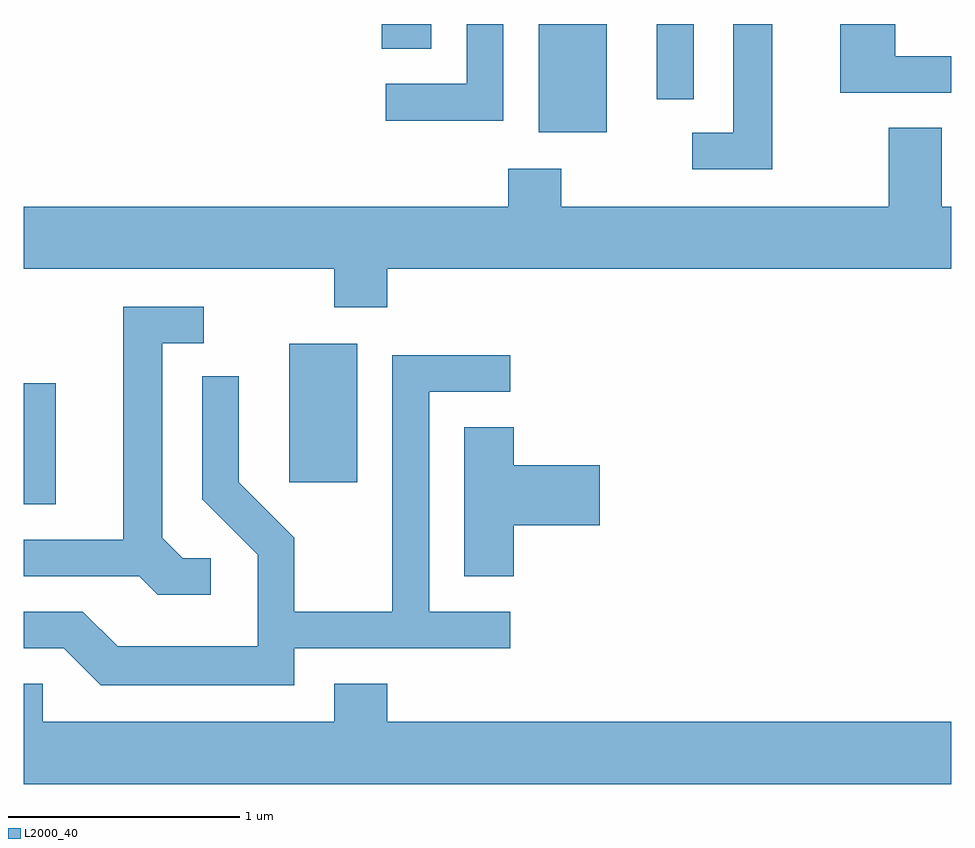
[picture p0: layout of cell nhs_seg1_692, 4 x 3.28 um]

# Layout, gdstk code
import gdstk
lib = gdstk.Library(unit=1e-6, precision=1e-09)
def R(c, l, rs):  # rectangles x0, y0, x1, y1
    for r in rs: c.add(gdstk.rectangle(r[:2], r[2:], *l))
def P(c, l, *ps):  # polygons
    for p in ps: c.add(gdstk.Polygon(p, *l))
L2000_40 = (2000, 40)

nhs_seg1_692 = lib.new_cell('nhs_seg1_692')
R(nhs_seg1_692, L2000_40, [(205.611,929.641,205.749,930.164), (206.756,929.736,207.049,930.334), (207.831,931.246,208.124,931.712), (208.341,931.388,208.499,931.712), (207.156,931.606,207.369,931.712)])
P(nhs_seg1_692, L2000_40, [(209.611,931.574),(209.369,931.574),(209.369,931.712),(209.131,931.712),(209.131,931.416),(209.611,931.416)],
  [(208.839,931.712),(208.671,931.712),(208.671,931.244),(208.493,931.244),(208.493,931.086),(208.839,931.086)],
  [(207.679,931.712),(207.521,931.712),(207.521,931.454),(207.173,931.454),(207.173,931.296),(207.679,931.296)],
  [(207.179,930.656),(209.611,930.656),(209.611,930.924),(209.569,930.924),(209.569,931.264),(209.341,931.264),(209.341,930.924),(207.929,930.924),(207.929,931.089),(207.701,931.089),(207.701,930.924),(205.611,930.924),(205.611,930.656),(206.951,930.656),(206.951,930.491),(207.179,930.491)],
  [(206.418,929.409),(206.297,929.409),(206.209,929.497),(206.209,930.336),(206.388,930.336),(206.388,930.494),(206.041,930.494),(206.041,929.489),(205.611,929.489),(205.611,929.331),(206.109,929.331),(206.189,929.251),(206.418,929.251)],
  [(206.779,929.021),(207.708,929.021),(207.708,929.179),(207.359,929.179),(207.359,930.126),(207.708,930.126),(207.708,930.284),(207.201,930.284),(207.201,929.179),(206.779,929.179),(206.779,929.497),(206.539,929.737),(206.539,930.193),(206.381,930.193),(206.381,929.664),(206.621,929.424),(206.621,929.029),(206.017,929.029),(205.867,929.179),(205.611,929.179),(205.611,929.021),(205.784,929.021),(205.944,928.861),(206.779,928.861)],
  [(207.724,929.551),(208.094,929.551),(208.094,929.809),(207.724,929.809),(207.724,929.974),(207.511,929.974),(207.511,929.331),(207.724,929.331)],
  [(209.611,928.704),(207.179,928.704),(207.179,928.869),(206.951,928.869),(206.951,928.704),(205.694,928.704),(205.694,928.869),(205.611,928.869),(205.611,928.436),(209.611,928.436)])

lib.write_gds('nhs_seg1_692.gds')
